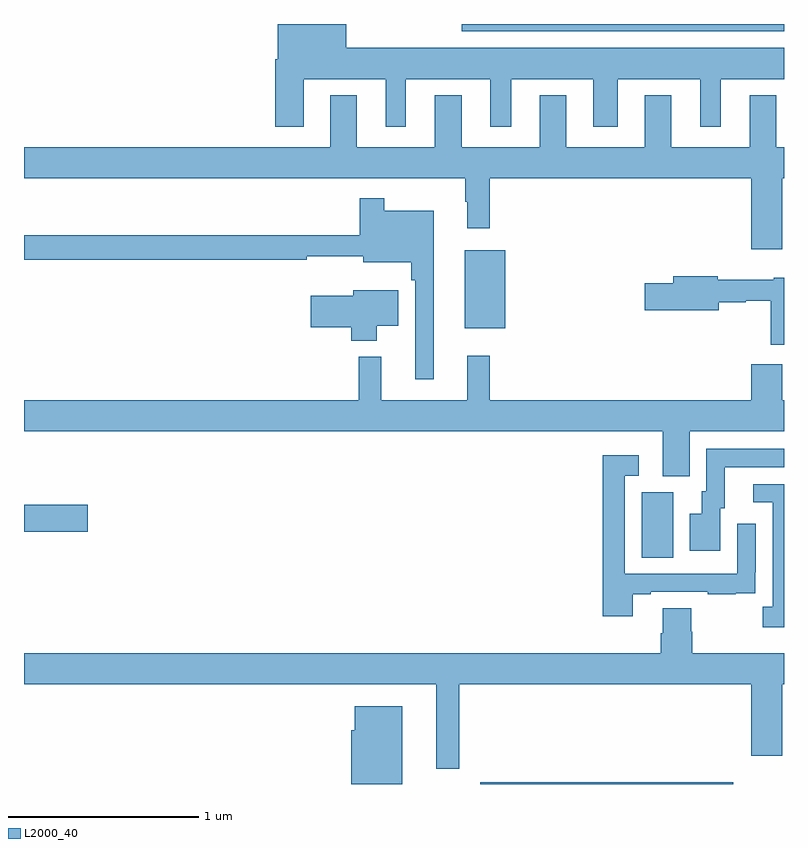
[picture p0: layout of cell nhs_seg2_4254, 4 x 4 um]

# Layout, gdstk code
import gdstk
lib = gdstk.Library(unit=1e-6, precision=1e-09)
def R(c, l, rs):  # rectangles x0, y0, x1, y1
    for r in rs: c.add(gdstk.rectangle(r[:2], r[2:], *l))
def P(c, l, *ps):  # polygons
    for p in ps: c.add(gdstk.Polygon(p, *l))
L2000_40 = (2000, 40)

nhs_seg2_4254 = lib.new_cell('nhs_seg2_4254')
R(nhs_seg2_4254, L2000_40, [(343.402,625.8,344.732,625.808), (344.252,626.992,344.416,627.336), (341,627.128,341.335,627.27), (343.319,628.199,343.534,628.609), (343.305,629.762,345,629.8)])
P(nhs_seg2_4254, L2000_40, [(342.472,629.51),(342.905,629.51),(342.905,629.259),(343.009,629.259),(343.009,629.51),(343.454,629.51),(343.454,629.259),(343.564,629.259),(343.564,629.51),(343.997,629.51),(343.997,629.259),(344.125,629.259),(344.125,629.51),(344.558,629.51),(344.558,629.259),(344.668,629.259),(344.668,629.51),(345,629.51),(345,629.674),(342.697,629.674),(342.697,629.8),(342.335,629.8),(342.335,629.614),(342.323,629.614),(342.323,629.259),(342.472,629.259)],
  [(344.992,628.988),(345,628.988),(345,629.152),(344.959,629.152),(344.959,629.425),(344.819,629.425),(344.819,629.152),(344.407,629.152),(344.407,629.425),(344.267,629.425),(344.267,629.152),(343.855,629.152),(343.855,629.425),(343.715,629.425),(343.715,629.152),(343.303,629.152),(343.303,629.425),(343.163,629.425),(343.163,629.152),(342.751,629.152),(342.751,629.425),(342.611,629.425),(342.611,629.152),(341,629.152),(341,628.988),(343.323,628.988),(343.323,628.865),(343.334,628.865),(343.334,628.725),(343.451,628.725),(343.451,628.988),(344.828,628.988),(344.828,628.614),(344.992,628.614)],
  [(343.156,628.816),(342.895,628.816),(342.895,628.882),(342.766,628.882),(342.766,628.687),(341,628.687),(341,628.558),(342.489,628.558),(342.489,628.577),(342.785,628.577),(342.785,628.547),(343.039,628.547),(343.039,628.451),(343.059,628.451),(343.059,627.93),(343.156,627.93)],
  [(345,628.465),(344.946,628.465),(344.946,628.453),(344.652,628.453),(344.652,628.472),(344.417,628.472),(344.417,628.436),(344.268,628.436),(344.268,628.294),(344.656,628.294),(344.656,628.336),(344.799,628.336),(344.799,628.344),(344.93,628.344),(344.93,628.113),(345,628.113)],
  [(342.856,628.211),(342.97,628.211),(342.97,628.399),(342.734,628.399),(342.734,628.369),(342.51,628.369),(342.51,628.204),(342.722,628.204),(342.722,628.133),(342.856,628.133)],
  [(344.828,628.009),(344.828,627.82),(343.451,627.82),(343.451,628.054),(343.334,628.054),(343.334,627.82),(342.881,627.82),(342.881,628.048),(342.763,628.048),(342.763,627.82),(341,627.82),(341,627.656),(344.363,627.656),(344.363,627.421),(344.503,627.421),(344.503,627.656),(345,627.656),(345,627.82),(344.992,627.82),(344.992,628.009)],
  [(344.665,627.252),(344.689,627.252),(344.689,627.468),(345,627.468),(345,627.564),(344.592,627.564),(344.592,627.342),(344.567,627.342),(344.567,627.223),(344.504,627.223),(344.504,627.027),(344.665,627.027)],
  [(344.203,626.799),(344.299,626.799),(344.299,626.811),(344.599,626.811),(344.599,626.799),(344.747,626.799),(344.747,626.805),(344.849,626.805),(344.849,626.914),(344.85,626.914),(344.85,627.169),(344.754,627.169),(344.754,626.907),(344.163,626.907),(344.163,627.423),(344.236,627.423),(344.236,627.529),(344.047,627.529),(344.047,626.682),(344.203,626.682)],
  [(345,627.378),(344.838,627.378),(344.838,627.282),(344.94,627.282),(344.94,626.734),(344.889,626.734),(344.889,626.624),(345,626.624)],
  [(343.291,626.324),(344.828,626.324),(344.828,625.95),(344.992,625.95),(344.992,626.324),(345,626.324),(345,626.488),(344.516,626.488),(344.516,626.601),(344.511,626.601),(344.511,626.726),(344.363,626.726),(344.363,626.594),(344.351,626.594),(344.351,626.488),(341,626.488),(341,626.324),(343.169,626.324),(343.169,625.88),(343.291,625.88)],
  [(342.991,626.209),(342.74,626.209),(342.74,626.082),(342.722,626.082),(342.722,625.8),(342.991,625.8)])

lib.write_gds('nhs_seg2_4254.gds')
